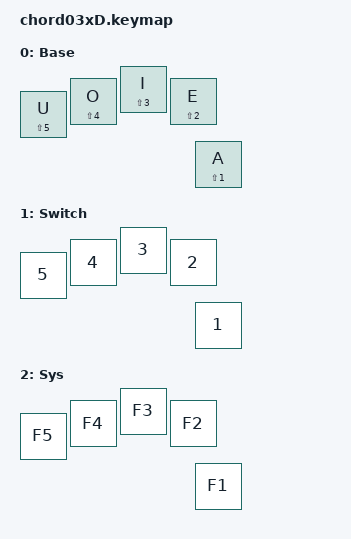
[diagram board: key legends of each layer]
#include <behaviors.dtsi>
#include <dt-bindings/zmk/keys.h>
#include <dt-bindings/zmk/bt.h>

#define SWITCH 1
#define SYS 2

/ {
    behaviors {
        skkp: sk_kp {
            compatible = "zmk,behavior-hold-tap";
            #binding-cells = <2>;
            flavor = "hold-preferred";
            tapping-term-ms = <200>;
            quick-tap-ms = <200>;
            require-prior-idle-ms = <100>;
            bindings = <&sk_u>, <&kp>;
            display-name = "sk-kp";
        };
        
        // Tuned key-key hold-tap. Drop-in replacement for built-in &mt.
        // Why custom: the built-in &mt's timing knobs aren't tunable in-place,
        // and its default flavor is hold-preferred which is too aggressive for
        // our case (holds here are non-mod things: HOME, F-keys, modded symbols
        // like LS(N5)='%'). Tap-preferred biases toward the letter/tap unless
        // the keys are clearly held past tapping-term with nothing else happening.
        // Use: &htk HOLD_KEY TAP_KEY  (everywhere &mt was used)
        htk: htk {
            compatible = "zmk,behavior-hold-tap";
            #binding-cells = <2>;
            flavor = "tap-preferred";
            tapping-term-ms = <200>;
            quick-tap-ms = <200>;
            require-prior-idle-ms = <100>;
            bindings = <&kp>, <&kp>;
            display-name = "htk";
        };

        // --- Behaviors for combo_012 / combo_1_012 / combo_234 ---
        // ZMK constraint: tap-dance requires #binding-cells=<0> and all
        // sub-bindings fully pre-parameterized. Hold-tap forwards params,
        // but here we keep everything 0-cell for symmetry and simplicity.
        // To change a modifier/layer: edit the marked "<== EDIT" line in
        // the behavior body. The combo invocation line stays untouched.

        // Uniform sticky-key. Drop-in replacement for built-in &sk so that
        // release-after-ms is exposed for tuning. We use 5000 ms vs ZMK's
        // default 1000 ms so that holding a combo for several seconds before
        // pressing the modified key doesn't let the sticky auto-expire.
        // Use &sk_u everywhere &sk was used.
        sk_u: sk_u {
            compatible = "zmk,behavior-sticky-key";
            #binding-cells = <1>;
            bindings = <&kp>;
            release-after-ms = <5000>;
        };

        // Uniform sticky-layer, analog of sk_u for layers.
        // ZMK's &sl is just a sticky-key wrapping &mo with a 1000 ms timeout;
        // we mirror that with the same 5000 ms release window for symmetry.
        sl_u: sl_u {
            compatible = "zmk,behavior-sticky-key";
            #binding-cells = <1>;
            bindings = <&mo>;
            release-after-ms = <5000>;
        };

        // Tap-dance for combo_012 tap side:
        //   1 tap  = sticky SWITCH layer
        //   2 taps = toggle SWITCH layer
        // SYS layer entry was previously a 3-tap branch here; it has been moved
        // to combo_1_012's hold (via ht_layer_tdtog below) — easier to execute
        // reliably than a 3-finger triple-tap.
        td_layer: td_layer {
            compatible = "zmk,behavior-tap-dance";
            #binding-cells = <0>;
            tapping-term-ms = <200>;
            bindings = <&sl_u SWITCH>, <&tog SWITCH>;
        };

        // 1-cell wrapper for td_layer. ZMK hold-tap requires #binding-cells=<2>
        // (const) and bare-phandle bindings whose cells sum to 2. td_layer is
        // 0-cell, so this macro accepts a 1-cell filler arg (ignored) and taps
        // td_layer. Used only as the tap-side of ht_mod_tdlayer.
        td_layer_w: td_layer_w {
            compatible = "zmk,behavior-macro-one-param";
            #binding-cells = <1>;
            bindings = <&macro_tap &td_layer>;
        };

        // Hold-tap for combo_012:
        //   hold = sticky modifier (caller-provided; see combo_012 line)
        //   tap  = td_layer_w (wrapper -> td_layer)
        // Caller passes 2 cells: cell[0] -> &sk (the mod), cell[1] -> td_layer_w (ignored).
        ht_mod_tdlayer: ht_mod_tdlayer {
            compatible = "zmk,behavior-hold-tap";
            #binding-cells = <2>;
            flavor = "hold-preferred";
            tapping-term-ms = <200>;
            quick-tap-ms = <200>;
            require-prior-idle-ms = <100>;
            bindings = <&sk_u>, <&td_layer_w>;
        };

        // Tap-dance for combo_1_012 tap side:
        //   1 tap  = sticky LCTRL          <== EDIT modifier here
        //   2 taps = toggle SWITCH off (structural; leave as-is)
        // Wrapped by ht_layer_tdtog below so the tap-dance press events are
        // dispatched at combo *release* (same as td_layer for combo_012),
        // keeping the timing model uniform across all tap-dance combos.
        td_mod_togSW: td_mod_togSW {
            compatible = "zmk,behavior-tap-dance";
            #binding-cells = <0>;
            tapping-term-ms = <200>;
            bindings = <&sk_u LCTRL>, <&tog SWITCH>;
        };

        // 1-cell wrapper for td_mod_togSW (analog of td_layer_w).
        td_mod_togSW_w: td_mod_togSW_w {
            compatible = "zmk,behavior-macro-one-param";
            #binding-cells = <1>;
            bindings = <&macro_tap &td_mod_togSW>;
        };

        // Hold-tap for combo_1_012:
        //   hold = toggle a layer (caller-provided, expected SYS for layer 2)
        //   tap  = td_mod_togSW_w (wrapper -> td_mod_togSW)
        // Same symmetric 1+1-cell structure as ht_mod_tdlayer.
        // Caller passes 2 cells: cell[0] -> &tog (the layer), cell[1] -> wrapper (ignored).
        ht_layer_tdtog: ht_layer_tdtog {
            compatible = "zmk,behavior-hold-tap";
            #binding-cells = <2>;
            flavor = "hold-preferred";
            tapping-term-ms = <200>;
            quick-tap-ms = <200>;
            require-prior-idle-ms = <100>;
            bindings = <&tog>, <&td_mod_togSW_w>;
        };

        // Tap-dance for combo_234 tap side:
        //   1 tap  = sticky LSHIFT         <== EDIT mod here (must match 2-tap)
        //   2 taps = locked LSHIFT (kt)    <== EDIT mod here (must match 1-tap)
        // &kt = key-toggle: first invocation latches the mod, second releases it.
        td_mod: td_mod {
            compatible = "zmk,behavior-tap-dance";
            #binding-cells = <0>;
            tapping-term-ms = <200>;
            bindings = <&sk_u LSHIFT>, <&kt LSHIFT>;
        };

        // 1-cell wrapper for td_mod. Same filler-arg trick as td_layer_w above.
        td_mod_w: td_mod_w {
            compatible = "zmk,behavior-macro-one-param";
            #binding-cells = <1>;
            bindings = <&macro_tap &td_mod>;
        };

        // Hold-tap for combo_234:
        //   hold = sticky modifier (caller-provided; see combo_234 line)
        //   tap  = td_mod_w (wrapper -> td_mod)
        // Caller passes 2 cells: cell[0] -> &sk (the mod), cell[1] -> td_mod_w (ignored).
        ht_mod_tdmod: ht_mod_tdmod {
            compatible = "zmk,behavior-hold-tap";
            #binding-cells = <2>;
            flavor = "hold-preferred";
            tapping-term-ms = <200>;
            quick-tap-ms = <200>;
            require-prior-idle-ms = <100>;
            bindings = <&sk_u>, <&td_mod_w>;
        };
    };
    
    combos {
        compatible = "zmk,combos";
        
        combo_34 {
            timeout-ms = <50>; // 50 ms to press all keys
            bindings = <&htk HOME N>; // output of the combo
            layers = <0>; //layers where the combo can be activated
            key-positions = <3 4>; // keys used in combo trigger
        };
        
        combo_23 {
            timeout-ms = <50>;
            key-positions = <2 3>;
            layers = <0>;
            bindings = <&htk PG_UP T>;
        };
        
        combo_12 {
            timeout-ms = <50>;
            key-positions = <1 2>;
            layers = <0>;
            bindings = <&htk END L>;
        };
        
        combo_01 {
            timeout-ms = <50>;
            key-positions = <0 1>;
            layers = <0>;
            bindings = <&htk LS(N9) S>;
        };
        
        combo_24 {
            timeout-ms = <50>;
            key-positions = <2 4>;
            layers = <0>;
            bindings = <&htk LS(DOT) D>;
        };
        
        combo_13 {
            timeout-ms = <50>;
            key-positions = <1 3>;
            layers = <0>;
            bindings = <&htk LS(COMMA) M>;
        };
        
        combo_02 {
            timeout-ms = <50>;
            key-positions = <0 2>;
            layers = <0>;
            bindings = <&htk LS(N8) Z>;
        };
        
        combo_14 {
            timeout-ms = <50>;
            key-positions = <1 4>;
            layers = <0>;
            bindings = <&htk PG_DN K>;
        };
        
        combo_03 {
            timeout-ms = <50>;
            key-positions = <0 3>;
            layers = <0>;
            bindings = <&htk LS(N7) B>;
        };
        
        combo_04 {
            timeout-ms = <50>;
            key-positions = <0 4>;
            layers = <0>;
            bindings = <&htk LS(N6) Y>;
        };
        
        combo_024 {
            timeout-ms = <50>;
            key-positions = <0 2 4>;
            layers = <0>;
            bindings = <&htk LS(GRAVE) W>;
        };
        
        combo_0123 {
            timeout-ms = <50>;
            key-positions = <0 1 2 3>;
            layers = <0>;
            bindings = <&htk LS(N0) H>;
        };
        
        combo_0124 {
            timeout-ms = <50>;
            key-positions = <0 1 2 4>;
            layers = <0>;
            bindings = <&htk LS(SEMI) C>;
        };
        
        combo_0134 {
            timeout-ms = <50>;
            key-positions = <0 1 3 4>;
            layers = <0>;
            bindings = <&htk LS(EQUAL) V>;
        };
        
        combo_0234 {
            timeout-ms = <50>;
            key-positions = <0 2 3 4>;
            layers = <0>;
            bindings = <&htk LS(RBKT) J>;
        };
        
        combo_1234 {
            timeout-ms = <50>;
            key-positions = <1 2 3 4>;
            layers = <0>;
            bindings = <&htk LS(LBKT) R>;
        };
        
        combo_124 {
            timeout-ms = <50>;
            key-positions = <1 2 4>;
            layers = <0>;
            bindings = <&htk LS(BSLH) G>;
        };
        
        combo_013 {
            timeout-ms = <50>;
            key-positions = <0 1 3>;
            layers = <0>;
            bindings = <&htk LS(MINUS) X>;
        };
        
        combo_134 {
            timeout-ms = <50>;
            key-positions = <1 3 4>;
            layers = <0>;
            bindings = <&htk LS(SLASH) F>;
        };
        
        combo_023 {
            timeout-ms = <50>;
            key-positions = <0 2 3>;
            layers = <0>;
            bindings = <&htk LS(SQT) Q>;
        };
        
        combo_014 {
            timeout-ms = <50>;
            key-positions = <0 1 4>;
            layers = <0>;
            bindings = <&htk F4 ENTER>; //kp kp 
        };
        
        combo_034 {
            timeout-ms = <50>;
            key-positions = <0 3 4>;
            layers = <0>;
            bindings = <&skkp LGUI P>;
        };
        
        combo_234 {
            timeout-ms = <50>;
            key-positions = <2 3 4>;
            layers = <0>;
            bindings = <&ht_mod_tdmod LALT 0>; // hold-mod, 0=filler
        };
        
        combo_123 {
            timeout-ms = <50>;
            key-positions = <1 2 3>;
            layers = <0>;
            bindings = <&htk F11 BACKSPACE>;
        };
        
        combo_012 {
            timeout-ms = <50>;
            key-positions = <0 1 2>;
            layers = <0>;
            bindings = <&ht_mod_tdlayer LCTRL 0>; // hold-mod, 0=filler
        };
        
        combo_01234 {
            timeout-ms = <50>;
            key-positions = <0 1 2 3 4>;
            layers = <0>;
            bindings = <&htk LS(TAB) SPACE>;
        };
        
        combo_1_34 {
            timeout-ms = <50>; 
            bindings = <&kp LEFT>; 
            layers = <1>;
            key-positions = <3 4>; 
        };
        
        combo_1_23 {
            timeout-ms = <50>;
            key-positions = <2 3>;
            layers = <1>;
            bindings = <&kp UP>;
        };
        
        combo_1_12 {
            timeout-ms = <50>;
            key-positions = <1 2>;
            layers = <1>;
            bindings = <&kp RIGHT>;
        };
        
        combo_1_01 {
            timeout-ms = <50>;
            key-positions = <0 1>;
            layers = <1>;
            bindings = <&kp N9>;
        };
        
        combo_1_24 {
            timeout-ms = <50>;
            key-positions = <2 4>;
            layers = <1>;
            bindings = <&kp DOT>;
        };
        
        combo_1_13 {
            timeout-ms = <50>;
            key-positions = <1 3>;
            layers = <1>;
            bindings = <&kp COMMA>;
        };
        
        combo_1_02 {
            timeout-ms = <50>;
            key-positions = <0 2>;
            layers = <1>;
            bindings = <&kp N8>;
        };
        
        combo_1_14 {
            timeout-ms = <50>;
            key-positions = <1 4>;
            layers = <1>;
            bindings = <&kp DOWN>;
        };
        
        combo_1_03 {
            timeout-ms = <50>;
            key-positions = <0 3>;
            layers = <1>;
            bindings = <&kp N7>;
        };
        
        combo_1_04 {
            timeout-ms = <50>;
            key-positions = <0 4>;
            layers = <1>;
            bindings = <&kp N6>;
        };
        
        combo_1_024 {
            timeout-ms = <50>;
            key-positions = <0 2 4>;
            layers = <1>;
            bindings = <&kp GRAVE>;
        };
        
        combo_1_0123 {
            timeout-ms = <50>;
            key-positions = <0 1 2 3>;
            layers = <1>;
            bindings = <&kp N0>;
        };
        
        combo_1_0124 {
            timeout-ms = <50>;
            key-positions = <0 1 2 4>;
            layers = <1>;
            bindings = <&kp SEMI>;
        };
        
        combo_1_0134 {
            timeout-ms = <50>;
            key-positions = <0 1 3 4>;
            layers = <1>;
            bindings = <&kp EQUAL>;
        };
        
        combo_1_0234 {
            timeout-ms = <50>;
            key-positions = <0 2 3 4>;
            layers = <1>;
            bindings = <&kp RBKT>;
        };
        
        combo_1_1234 {
            timeout-ms = <50>;
            key-positions = <1 2 3 4>;
            layers = <1>;
            bindings = <&kp LBKT>;
        };
        
        combo_1_124 {
            timeout-ms = <50>;
            key-positions = <1 2 4>;
            layers = <1>;
            bindings = <&kp BSLH>;
        };
        
        combo_1_013 {
            timeout-ms = <50>;
            key-positions = <0 1 3>;
            layers = <1>;
            bindings = <&kp MINUS>;
        };
        
        combo_1_134 {
            timeout-ms = <50>;
            key-positions = <1 3 4>;
            layers = <1>;
            bindings = <&kp SLASH>;
        };
        
        combo_1_023 {
            timeout-ms = <50>;
            key-positions = <0 2 3>;
            layers = <1>;
            bindings = <&kp SQT>;
        };
        
        combo_1_014 {
            timeout-ms = <50>;
            key-positions = <0 1 4>;
            layers = <1>;
            bindings = <&kp ESC>;
        };
        
        combo_1_034 {
            timeout-ms = <50>;
            key-positions = <0 3 4>;
            layers = <1>;
            bindings = <&sk_u LGUI>;
        };
        
        combo_1_234 {
            timeout-ms = <50>;
            key-positions = <2 3 4>;
            layers = <1>;
            bindings = <&sk_u LALT>; 
        };
        
        combo_1_123 {
            timeout-ms = <50>;
            key-positions = <1 2 3>;
            layers = <1>;
            bindings = <&kp DEL>;
        };
        
        combo_1_012 {
            timeout-ms = <50>;
            key-positions = <0 1 2>;
            layers = <1>;
            bindings = <&ht_layer_tdtog SYS 0>; // hold=tog SYS, 0=filler
        };
        
        combo_1_01234 {
            timeout-ms = <50>;
            key-positions = <0 1 2 3 4>;
            layers = <1>;
            bindings = <&kp TAB>;
        };

        // --- Layer 2 (SYS) combos: F-keys, page nav, BT, Studio, exit ---

        // F-keys F6..F12 (F1..F5 are on sys_layer single keys)
        combo_2_04 {
            timeout-ms = <50>;
            key-positions = <0 4>;
            layers = <SYS>;
            bindings = <&kp F6>;
        };

        combo_2_03 {
            timeout-ms = <50>;
            key-positions = <0 3>;
            layers = <SYS>;
            bindings = <&kp F7>;
        };

        combo_2_02 {
            timeout-ms = <50>;
            key-positions = <0 2>;
            layers = <SYS>;
            bindings = <&kp F8>;
        };

        combo_2_01 {
            timeout-ms = <50>;
            key-positions = <0 1>;
            layers = <SYS>;
            bindings = <&kp F9>;
        };

        combo_2_0123 {
            timeout-ms = <50>;
            key-positions = <0 1 2 3>;
            layers = <SYS>;
            bindings = <&kp F10>;
        };

        combo_2_013 {
            timeout-ms = <50>;
            key-positions = <0 1 3>;
            layers = <SYS>;
            bindings = <&kp F11>;
        };

        combo_2_0134 {
            timeout-ms = <50>;
            key-positions = <0 1 3 4>;
            layers = <SYS>;
            bindings = <&kp F12>;
        };

        // Page navigation (mirrors arrow-key positions on Layer 1)
        combo_2_23 {
            timeout-ms = <50>;
            key-positions = <2 3>;
            layers = <SYS>;
            bindings = <&kp PG_UP>;
        };

        combo_2_14 {
            timeout-ms = <50>;
            key-positions = <1 4>;
            layers = <SYS>;
            bindings = <&kp PG_DN>;
        };

        combo_2_34 {
            timeout-ms = <50>;
            key-positions = <3 4>;
            layers = <SYS>;
            bindings = <&kp HOME>;
        };

        combo_2_12 {
            timeout-ms = <50>;
            key-positions = <1 2>;
            layers = <SYS>;
            bindings = <&kp END>;
        };

        // Bluetooth device selection (slots 0/1/2)
        combo_2_1234 {
            timeout-ms = <50>;
            key-positions = <1 2 3 4>;
            layers = <SYS>;
            bindings = <&bt BT_SEL 0>;
        };

        combo_2_0234 {
            timeout-ms = <50>;
            key-positions = <0 2 3 4>;
            layers = <SYS>;
            bindings = <&bt BT_SEL 1>;
        };

        combo_2_124 {
            timeout-ms = <50>;
            key-positions = <1 2 4>;
            layers = <SYS>;
            bindings = <&bt BT_SEL 2>;
        };

        // Bluetooth clear (current profile -> back into advertising for re-pair)
        combo_2_123 {
            timeout-ms = <50>;
            key-positions = <1 2 3>;
            layers = <SYS>;
            bindings = <&bt BT_CLR>;
        };

        // ZMK Studio unlock
        combo_2_014 {
            timeout-ms = <50>;
            key-positions = <0 1 4>;
            layers = <SYS>;
            bindings = <&studio_unlock>;
        };

        // Exit SYS layer (direct toggle, no modifier needed here)
        combo_2_012 {
            timeout-ms = <50>;
            key-positions = <0 1 2>;
            layers = <SYS>;
            bindings = <&tog SYS>;
        };

    };

    keymap {
        compatible = "zmk,keymap";

        base_layer {
            display-name = "Base";
            bindings = < &htk LS(N5) U    &htk LS(N4) O    &htk LS(N3) I    &htk LS(N2) E   &htk LS(N1) A >;
        };
        
        switch_layer {
            display-name = "Switch";
            bindings = < &kp N5    &kp N4    &kp N3    &kp N2    &kp N1 >;
        };

        sys_layer {
            display-name = "Sys";
            bindings = < &kp F5    &kp F4    &kp F3    &kp F2    &kp F1 >;
        };
    };
 };
